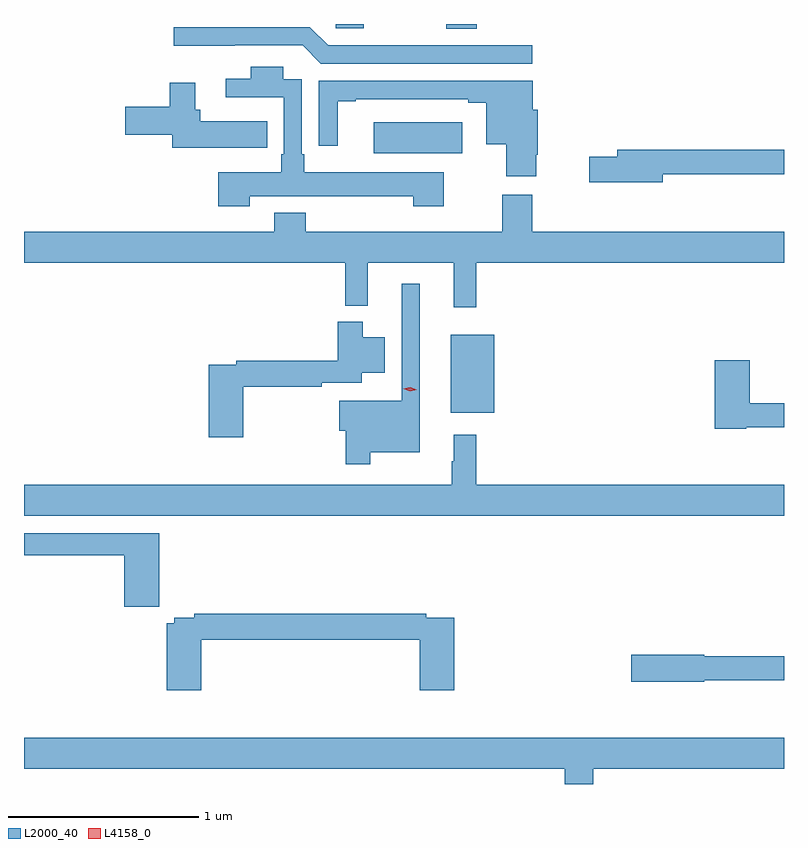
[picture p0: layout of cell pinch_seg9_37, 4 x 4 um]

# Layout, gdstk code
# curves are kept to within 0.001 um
import gdstk
lib = gdstk.Library(unit=1e-6, precision=1e-09)
def R(c, l, rs):  # rectangles x0, y0, x1, y1
    for r in rs: c.add(gdstk.rectangle(r[:2], r[2:], *l))
def P(c, l, *ps):  # polygons
    for p in ps: c.add(gdstk.Polygon(p, *l))
L2000_40 = (2000, 40)
L4158_0 = (4158, 0)

pinch_seg9_37 = lib.new_cell('pinch_seg9_37')
R(pinch_seg9_37, L2000_40, [(925.847,1207.619,926.074,1208.029), (925.44,1208.984,925.906,1209.148), (925.822,1209.641,925.982,1209.665), (925.242,1209.642,925.389,1209.665)])
P(pinch_seg9_37, L2000_40, [(926.275,1209.552),(925.733,1209.552),(925.733,1209.554),(925.477,1209.554),(925.477,1209.552),(925.2,1209.552),(925.104,1209.648),(924.387,1209.648),(924.387,1209.551),(925.067,1209.552),(925.163,1209.456),(926.275,1209.456)],
  [(924.788,1208.759),(925.649,1208.759),(925.649,1208.706),(925.809,1208.706),(925.809,1208.884),(925.075,1208.884),(925.075,1208.98),(925.062,1208.98),(925.062,1209.375),(924.964,1209.375),(924.964,1209.439),(924.794,1209.439),(924.794,1209.376),(924.663,1209.376),(924.663,1209.279),(924.966,1209.279),(924.966,1208.98),(924.954,1208.98),(924.954,1208.884),(924.623,1208.884),(924.623,1208.706),(924.788,1208.706)],
  [(926.296,1208.977),(926.304,1208.977),(926.304,1209.213),(926.278,1209.213),(926.278,1209.366),(925.152,1209.366),(925.152,1209.024),(925.25,1209.024),(925.25,1209.258),(925.345,1209.258),(925.345,1209.27),(925.937,1209.27),(925.937,1209.25),(926.033,1209.25),(926.033,1209.032),(926.138,1209.032),(926.138,1208.865),(926.296,1208.865)],
  [(924.773,1209.015),(924.881,1209.015),(924.881,1209.153),(924.528,1209.153),(924.528,1209.213),(924.502,1209.213),(924.502,1209.355),(924.368,1209.355),(924.368,1209.23),(924.132,1209.23),(924.132,1209.083),(924.38,1209.083),(924.38,1209.014),(924.773,1209.014)],
  [(926.962,1208.874),(927.6,1208.874),(927.6,1209.002),(926.723,1209.002),(926.723,1208.966),(926.574,1208.966),(926.574,1208.831),(926.962,1208.831)],
  [(925.979,1208.408),(927.6,1208.408),(927.6,1208.572),(926.276,1208.572),(926.276,1208.767),(926.116,1208.767),(926.116,1208.572),(925.082,1208.572),(925.082,1208.671),(924.917,1208.671),(924.917,1208.572),(923.6,1208.572),(923.6,1208.408),(925.291,1208.408),(925.291,1208.183),(925.409,1208.183),(925.409,1208.408),(925.862,1208.408),(925.862,1208.175),(925.979,1208.175)],
  [(925.423,1207.412),(925.684,1207.412),(925.684,1208.299),(925.587,1208.299),(925.587,1207.681),(925.26,1207.681),(925.26,1207.523),(925.294,1207.523),(925.294,1207.347),(925.423,1207.347)],
  [(924.755,1207.756),(925.166,1207.756),(925.166,1207.776),(925.378,1207.776),(925.378,1207.829),(925.498,1207.829),(925.498,1208.017),(925.384,1208.017),(925.384,1208.098),(925.25,1208.098),(925.25,1207.892),(924.718,1207.892),(924.718,1207.872),(924.572,1207.872),(924.572,1207.491),(924.755,1207.491)],
  [(927.402,1207.542),(927.6,1207.542),(927.6,1207.67),(927.419,1207.67),(927.419,1207.894),(927.236,1207.894),(927.236,1207.534),(927.402,1207.534)],
  [(927.6,1207.24),(925.979,1207.24),(925.979,1207.504),(925.862,1207.504),(925.862,1207.364),(925.851,1207.364),(925.851,1207.24),(923.6,1207.24),(923.6,1207.076),(927.6,1207.076)],
  [(924.311,1206.984),(923.6,1206.984),(923.6,1206.868),(924.128,1206.868),(924.128,1206.597),(924.311,1206.597)],
  [(924.533,1206.424),(925.682,1206.424),(925.682,1206.159),(925.865,1206.159),(925.865,1206.54),(925.718,1206.54),(925.718,1206.56),(924.496,1206.56),(924.496,1206.54),(924.392,1206.54),(924.392,1206.511),(924.35,1206.511),(924.35,1206.159),(924.533,1206.159)],
  [(927.18,1206.21),(927.6,1206.21),(927.6,1206.338),(927.18,1206.338),(927.18,1206.344),(926.796,1206.344),(926.796,1206.202),(927.18,1206.202)],
  [(926.595,1205.744),(927.6,1205.744),(927.6,1205.908),(923.6,1205.908),(923.6,1205.744),(926.447,1205.744),(926.447,1205.665),(926.595,1205.665)])
P(pinch_seg9_37, L4158_0, [(925.632,1207.732),(925.597,1207.744),(925.597,1207.744),(925.597,1207.744),(925.633,1207.752),(925.668,1207.741),(925.668,1207.74),(925.668,1207.74)])

lib.write_gds('pinch_seg9_37.gds')
